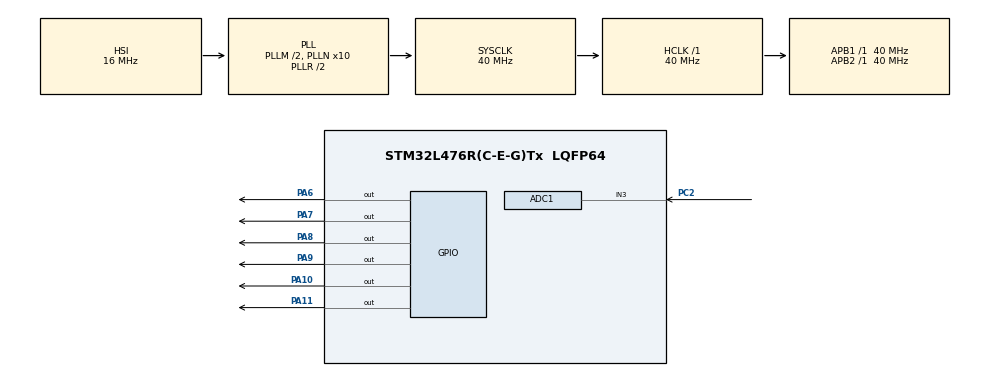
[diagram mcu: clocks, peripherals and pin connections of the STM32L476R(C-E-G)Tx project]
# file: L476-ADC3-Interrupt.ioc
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ADC1.Channel-0\#ChannelRegularConversion=ADC_CHANNEL_3
ADC1.NbrOfConversionFlag=1
ADC1.OffsetNumber-0\#ChannelRegularConversion=ADC_OFFSET_NONE
ADC1.Overrun=ADC_OVR_DATA_OVERWRITTEN
ADC1.Rank-0\#ChannelRegularConversion=1
ADC1.SamplingTime-0\#ChannelRegularConversion=ADC_SAMPLETIME_12CYCLES_5
ADC1.master=1
Mcu.Family=STM32L4
Mcu.Name=STM32L476R(C-E-G)Tx
Mcu.Package=LQFP64
NVIC.ADC1_2_IRQn=true\:0\:0\:false\:false\:true\:true\:true\:true
NVIC.PriorityGroup=NVIC_PRIORITYGROUP_4
PA10.Signal=GPIO_Output
PA11.Signal=GPIO_Output
PA6.Signal=GPIO_Output
PA7.Signal=GPIO_Output
PA8.Signal=GPIO_Output
PA9.Signal=GPIO_Output
PC2.Signal=ADCx_IN3
ProjectManager.HeapSize=0x200
ProjectManager.StackSize=0x400
ProjectManager.TargetToolchain=STM32CubeIDE
RCC.ADCFreq_Value=32000000
RCC.AHBFreq_Value=40000000
RCC.APB1Freq_Value=40000000
RCC.APB1TimFreq_Value=40000000
RCC.APB2Freq_Value=40000000
RCC.APB2TimFreq_Value=40000000
RCC.CortexFreq_Value=40000000
RCC.HCLKFreq_Value=40000000
RCC.HSE_VALUE=8000000
RCC.HSI_VALUE=16000000
RCC.LSE_VALUE=32768
RCC.MSI_VALUE=4000000
RCC.PLLM=2
RCC.PLLN=10
RCC.PLLSourceVirtual=RCC_PLLSOURCE_HSI
RCC.PREFETCH_ENABLE=1
RCC.SYSCLKFreq_VALUE=40000000
RCC.SYSCLKSource=RCC_SYSCLKSOURCE_PLLCLK
RCC.USBFreq_Value=32000000
RCC.VCOOutputFreq_Value=80000000
SH.ADCx_IN3.0=ADC1_IN3,IN3-Single-Ended
board=NUCLEO-L476RG

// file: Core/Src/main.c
/* USER CODE BEGIN Header */
/**
  ******************************************************************************
  * @file           : main.c
  * @brief          : Main program body
  ******************************************************************************
  * @attention
  *
  * Copyright (c) 2026 STMicroelectronics.
  * All rights reserved.
  *
  * This software is licensed under terms that can be found in the LICENSE file
  * in the root directory of this software component.
  * If no LICENSE file comes with this software, it is provided AS-IS.
  *
  ******************************************************************************
  */
/* USER CODE END Header */
#include "main.h"

/* USER CODE BEGIN Includes */
#include "lcd.h"
#include "stdio.h"
volatile uint8_t convend=0;
uint32_t adcResult;
/* USER CODE END Includes */

ADC_HandleTypeDef hadc1;

void SystemClock_Config(void);
static void MX_GPIO_Init(void);
static void MX_ADC1_Init(void);

/* USER CODE BEGIN 0 */
void HAL_ADC_ConvCpltCallback(ADC_HandleTypeDef* hadc)
{
    convend = 1;
}
/* USER CODE END 0 */

int main(void)
{

  /* MCU Configuration--------------------------------------------------------*/

  /* Reset of all peripherals, Initializes the Flash interface and the Systick. */
  HAL_Init();

  /* Configure the system clock */
  SystemClock_Config();

  /* Initialize all configured peripherals */
  MX_GPIO_Init();
  MX_ADC1_Init();

  /* Infinite loop */
  /* USER CODE BEGIN WHILE */
  	lcd_Init();
  	lcd_Clear();
  	lcd_Puts("Voltmeter");
	char buff[16];
	float mv;
	HAL_ADC_Start_IT(&hadc1);
  while (1)
  {
	  if(convend ==1){
		  convend=0;
		  adcResult = HAL_ADC_GetValue(&hadc1);
		  mv=((float)adcResult)*3300.0/4095.0;
		  lcd_Goto(0,1);
		  sprintf(buff, "%7.2f mV", mv);
		  lcd_Puts(buff);
		  HAL_Delay(1000);
		  HAL_ADC_Start_IT(&hadc1);
	  }
    /* USER CODE END WHILE */

  }
}

void SystemClock_Config(void)
{
  RCC_OscInitTypeDef RCC_OscInitStruct = {0};
  RCC_ClkInitTypeDef RCC_ClkInitStruct = {0};

  /** Configure the main internal regulator output voltage
  */
  if (HAL_PWREx_ControlVoltageScaling(PWR_REGULATOR_VOLTAGE_SCALE1) != HAL_OK)
  {
    Error_Handler();
  }

  /** Initializes the RCC Oscillators according to the specified parameters
  * in the RCC_OscInitTypeDef structure.
  */
  RCC_OscInitStruct.OscillatorType = RCC_OSCILLATORTYPE_HSI;
  RCC_OscInitStruct.HSIState = RCC_HSI_ON;
  RCC_OscInitStruct.HSICalibrationValue = RCC_HSICALIBRATION_DEFAULT;
  RCC_OscInitStruct.PLL.PLLState = RCC_PLL_ON;
  RCC_OscInitStruct.PLL.PLLSource = RCC_PLLSOURCE_HSI;
  RCC_OscInitStruct.PLL.PLLM = 2;
  RCC_OscInitStruct.PLL.PLLN = 10;
  RCC_OscInitStruct.PLL.PLLP = RCC_PLLP_DIV7;
  RCC_OscInitStruct.PLL.PLLQ = RCC_PLLQ_DIV2;
  RCC_OscInitStruct.PLL.PLLR = RCC_PLLR_DIV2;
  if (HAL_RCC_OscConfig(&RCC_OscInitStruct) != HAL_OK)
  {
    Error_Handler();
  }

  /** Initializes the CPU, AHB and APB buses clocks
  */
  RCC_ClkInitStruct.ClockType = RCC_CLOCKTYPE_HCLK|RCC_CLOCKTYPE_SYSCLK
                              |RCC_CLOCKTYPE_PCLK1|RCC_CLOCKTYPE_PCLK2;
  RCC_ClkInitStruct.SYSCLKSource = RCC_SYSCLKSOURCE_PLLCLK;
  RCC_ClkInitStruct.AHBCLKDivider = RCC_SYSCLK_DIV1;
  RCC_ClkInitStruct.APB1CLKDivider = RCC_HCLK_DIV1;
  RCC_ClkInitStruct.APB2CLKDivider = RCC_HCLK_DIV1;

  if (HAL_RCC_ClockConfig(&RCC_ClkInitStruct, FLASH_LATENCY_2) != HAL_OK)
  {
    Error_Handler();
  }
}

static void MX_ADC1_Init(void)
{

  ADC_MultiModeTypeDef multimode = {0};
  ADC_ChannelConfTypeDef sConfig = {0};

  /** Common config
  */
  hadc1.Instance = ADC1;
  hadc1.Init.ClockPrescaler = ADC_CLOCK_ASYNC_DIV1;
  hadc1.Init.Resolution = ADC_RESOLUTION_12B;
  hadc1.Init.DataAlign = ADC_DATAALIGN_RIGHT;
  hadc1.Init.ScanConvMode = ADC_SCAN_DISABLE;
  hadc1.Init.EOCSelection = ADC_EOC_SINGLE_CONV;
  hadc1.Init.LowPowerAutoWait = DISABLE;
  hadc1.Init.ContinuousConvMode = DISABLE;
  hadc1.Init.NbrOfConversion = 1;
  hadc1.Init.DiscontinuousConvMode = DISABLE;
  hadc1.Init.ExternalTrigConv = ADC_SOFTWARE_START;
  hadc1.Init.ExternalTrigConvEdge = ADC_EXTERNALTRIGCONVEDGE_NONE;
  hadc1.Init.DMAContinuousRequests = DISABLE;
  hadc1.Init.Overrun = ADC_OVR_DATA_OVERWRITTEN;
  hadc1.Init.OversamplingMode = DISABLE;
  if (HAL_ADC_Init(&hadc1) != HAL_OK)
  {
    Error_Handler();
  }

  /** Configure the ADC multi-mode
  */
  multimode.Mode = ADC_MODE_INDEPENDENT;
  if (HAL_ADCEx_MultiModeConfigChannel(&hadc1, &multimode) != HAL_OK)
  {
    Error_Handler();
  }

  /** Configure Regular Channel
  */
  sConfig.Channel = ADC_CHANNEL_3;
  sConfig.Rank = ADC_REGULAR_RANK_1;
  sConfig.SamplingTime = ADC_SAMPLETIME_12CYCLES_5;
  sConfig.SingleDiff = ADC_SINGLE_ENDED;
  sConfig.OffsetNumber = ADC_OFFSET_NONE;
  sConfig.Offset = 0;
  if (HAL_ADC_ConfigChannel(&hadc1, &sConfig) != HAL_OK)
  {
    Error_Handler();
  }

}

static void MX_GPIO_Init(void)
{
  GPIO_InitTypeDef GPIO_InitStruct = {0};

  /* GPIO Ports Clock Enable */
  __HAL_RCC_GPIOC_CLK_ENABLE();
  __HAL_RCC_GPIOA_CLK_ENABLE();

  /*Configure GPIO pin Output Level */
  HAL_GPIO_WritePin(GPIOA, GPIO_PIN_6|GPIO_PIN_7|GPIO_PIN_8|GPIO_PIN_9
                          |GPIO_PIN_10|GPIO_PIN_11, GPIO_PIN_RESET);

  /*Configure GPIO pins : PA6 PA7 PA8 PA9
                           PA10 PA11 */
  GPIO_InitStruct.Pin = GPIO_PIN_6|GPIO_PIN_7|GPIO_PIN_8|GPIO_PIN_9
                          |GPIO_PIN_10|GPIO_PIN_11;
  GPIO_InitStruct.Mode = GPIO_MODE_OUTPUT_PP;
  GPIO_InitStruct.Pull = GPIO_NOPULL;
  GPIO_InitStruct.Speed = GPIO_SPEED_FREQ_LOW;
  HAL_GPIO_Init(GPIOA, &GPIO_InitStruct);

}

void Error_Handler(void)
{
  __disable_irq();
  while (1)
  {
  }
}
